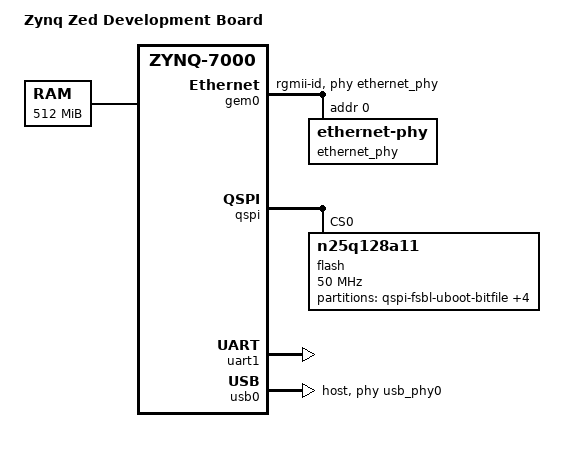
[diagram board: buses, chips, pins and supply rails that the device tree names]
/*
 * Xilinx ZED board DTS
 *
 *  Copyright (C) 2011 - 2015 Xilinx
 *  Copyright (C) 2012 National Instruments Corp.
 *
 * SPDX-License-Identifier:	GPL-2.0+
 */
/dts-v1/;
#include "zynq-7000.dtsi"

/ {
	model = "Zynq Zed Development Board";
	compatible = "xlnx,zynq-zed", "xlnx,zynq-7000";

	aliases {
		ethernet0 = &gem0;
		serial0 = &uart1;
		spi0 = &qspi;
		mmc0 = &sdhci0;
	};

	memory@0 {
		device_type = "memory";
		reg = <0x0 0x20000000>;
	};

	chosen {
		bootargs = "";
		stdout-path = "serial0:115200n8";
	};

	usb_phy0: phy0@e0002000 {
		compatible = "ulpi-phy";
		#phy-cells = <0>;
		reg = <0xe0002000 0x1000>;
		view-port = <0x0170>;
		drv-vbus;
	};
};

&clkc {
	ps-clk-frequency = <33333333>;
};

&gem0 {
	status = "okay";
	phy-mode = "rgmii-id";
	phy-handle = <&ethernet_phy>;

	ethernet_phy: ethernet-phy@0 {
		reg = <0>;
		device_type = "ethernet-phy";
	};
};

&qspi {
	u-boot,dm-pre-reloc;
	status = "okay";
	is-dual = <0>;
	num-cs = <1>;
	flash@0 {
		compatible = "n25q128a11";
		reg = <0x0>;
		spi-tx-bus-width = <1>;
		spi-rx-bus-width = <4>;
		spi-max-frequency = <50000000>;
		#address-cells = <1>;
		#size-cells = <1>;
		/*fsbl,bit file,u-boot 3M*/
		partition@qspi-fsbl-uboot {
			label = "qspi-fsbl-uboot-bitfile";
			reg = <0x0 0x300000>;
		};
		/*uImage 4M*/
		partition@qspi-linux {
			label = "qspi-linux";
			reg = <0x300000 0x400000>;
		};
		/*dtb 64k*/
		partition@qspi-device-tree {
			label = "qspi-device-tree";
			reg = <0x700000 0x10000>;
		};
		/*initramfs 10M*/
		partition@qspi-rootfs {
			label = "qspi-rootfs";
			reg = <0x710000 0xA00000>;
		};
		/*data, rest*/
		partition@qspi-data {
			label = "qspi-data";
			reg = <0x1110000 (0x2000000 - 0x1110000)>;
		};
	};
};

&sdhci0 {
	u-boot,dm-pre-reloc;
	status = "disable";
};

&uart1 {
	u-boot,dm-pre-reloc;
	status = "okay";
};

&usb0 {
	status = "okay";
	dr_mode = "host";
	usb-phy = <&usb_phy0>;
};
